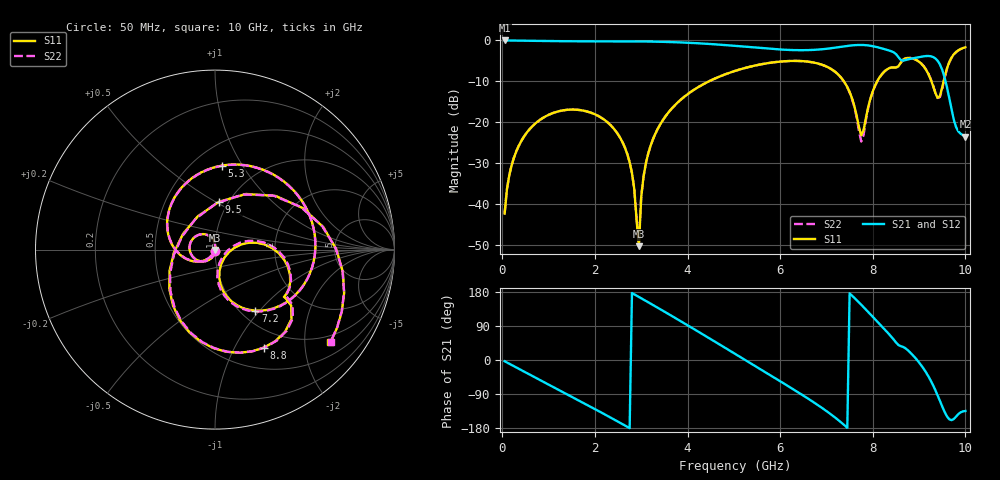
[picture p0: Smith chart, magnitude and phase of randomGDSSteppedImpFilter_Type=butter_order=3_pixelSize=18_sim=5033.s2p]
! freq	dB(S11)	phase(S11)	dB(S12)	phase(S12)
!  dB(S21)	phase(S21)	dB(S22)	phase(S22)
!S-par simulation data
#  GHz  S  DB  R 50
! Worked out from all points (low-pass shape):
!   200 points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, 50 MHz to 10 GHz, reference 50 ohm
!   highest |S21| = 0.00 dB at 50 MHz (marker M1); lowest = -23.6 dB at 10 GHz (marker M2)
!   |S21| within 3 dB of the highest: start of sweep to 8.462 GHz
!   lowest |S11| = -50.3 dB at 2.95 GHz (marker M3), VSWR 1.01, Z = 49.8 - j0.236 ohm
!   |S11| at or under -10 dB: start of sweep to 4.462 GHz; 7.375 GHz to 8.096 GHz (720.8 MHz wide, 9.32 % of centre); 9.266 GHz to 9.53 GHz (263.5 MHz wide, 2.8 % of centre)
!   |S22| runs from -49.1 to -1.7 dB; largest |S21 - S12| = 0
!   S11 on the Smith chart (normalised r, x): 50 MHz: 1.00, -0.02; 5.3 GHz: 0.68, +0.82; 7.2 GHz: 1.16, -0.95; 8.8 GHz: 0.76, -1.32; 9.5 GHz: 0.90, +0.52; 10 GHz: 0.81, -2.62
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0.05  -42.37 -92.7  -0.00 -3.3  -0.00 -3.3  -42.37 -92.7
0.2  -30.60 -102.2  -0.03 -13.1  -0.03 -13.1  -30.60 -102.2
0.55  -22.26 -126.1  -0.08 -35.7  -0.08 -35.7  -22.26 -126.1
1.75  -17.17 156.0  -0.22 -113.1  -0.22 -113.1  -17.17 156.2
2.65  -26.28 97.0  -0.22 -172.9  -0.22 -172.9  -26.27 97.8
2.85  -36.37 85.7  -0.23 173.3  -0.23 173.3  -36.29 89.0
2.95  -50.35 -128.7  -0.24 166.4  -0.24 166.4  -49.12 -146.5
3.05  -33.29 -113.9  -0.25 159.5  -0.25 159.5  -33.29 -116.7
3.4  -20.73 -136.7  -0.32 134.8  -0.32 134.8  -20.74 -137.5
4.15  -11.99 169.8  -0.64 80.8  -0.64 80.8  -11.99 169.3
5.05  -7.37 103.8  -1.35 14.5  -1.35 14.5  -7.37 103.3
5.3  -6.57 85.4  -1.59 -4.1  -1.59 -4.1  -6.57 84.9
6.05  -5.13 30.6  -2.25 -59.8  -2.25 -59.8  -5.13 30.0
6.7  -5.36 -17.3  -2.32 -109.6  -2.32 -109.6  -5.36 -18.0
7.2  -7.79 -56.6  -1.75 -153.1  -1.75 -153.1  -7.82 -57.8
7.75  -23.22 -41.0  -1.10 146.0  -1.10 146.0  -24.74 -42.2
8.35  -6.81 -23.4  -2.46 68.5  -2.46 68.5  -6.81 -22.0
8.8  -4.29 -63.5  -4.53 20.9  -4.53 20.9  -4.27 -62.6
9.15  -7.16 -116.5  -3.82 -32.7  -3.82 -32.7  -7.09 -114.8
9.5  -11.46 85.2  -7.19 -122.7  -7.19 -122.7  -11.78 88.5
9.75  -3.39 0.0  -19.42 -155.8  -19.42 -155.8  -3.45 0.7
10  -1.67 -38.8  -23.56 -134.6  -23.56 -134.6  -1.68 -38.5
